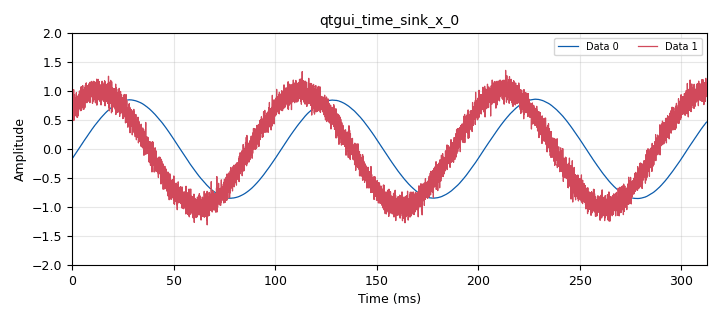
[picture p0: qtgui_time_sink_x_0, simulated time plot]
<?xml version='1.0' encoding='utf-8'?>
<?grc format='1' created='3.7.7'?>
<flow_graph>
<block>
<key>options</key>
<param><key>id</key><value>blocks_moving_average</value></param>
<param><key>generate_options</key><value>qt_gui</value></param>
<param><key>category</key><value>Custom</value></param>
<param><key>run_options</key><value>run</value></param>
</block>
<block>
<key>variable</key>
<param><key>id</key><value>samp_rate</value></param>
<param><key>value</key><value>32000</value></param>
</block>
<block>
<key>analog_sig_source_x</key>
<param><key>id</key><value>analog_sig_source_x_0</value></param>
<param><key>type</key><value>float</value></param>
<param><key>samp_rate</key><value>samp_rate</value></param>
<param><key>waveform</key><value>analog.GR_COS_WAVE</value></param>
<param><key>freq</key><value>10</value></param>
<param><key>amp</key><value>1</value></param>
<param><key>offset</key><value>0</value></param>
</block>
<block>
<key>blocks_throttle</key>
<param><key>id</key><value>blocks_throttle_0</value></param>
<param><key>type</key><value>float</value></param>
<param><key>samples_per_second</key><value>samp_rate</value></param>
</block>
<block>
<key>blocks_add_xx</key>
<param><key>id</key><value>blocks_add_xx_0</value></param>
<param><key>type</key><value>float</value></param>
</block>
<block>
<key>qtgui_time_sink_x</key>
<param><key>id</key><value>qtgui_time_sink_x_0</value></param>
<param><key>type</key><value>float</value></param>
<param><key>name</key><value></value></param>
<param><key>size</key><value>10000</value></param>
<param><key>srate</key><value>samp_rate</value></param>
<param><key>ymin</key><value>-2</value></param>
<param><key>ymax</key><value>2</value></param>
<param><key>nconnections</key><value>2</value></param>
<param><key>label1</key><value></value></param>
<param><key>color1</key><value>"blue"</value></param>
<param><key>label2</key><value></value></param>
<param><key>color2</key><value>"red"</value></param>
</block>
<block>
<key>analog_noise_source_x</key>
<param><key>id</key><value>analog_noise_source_x_0</value></param>
<param><key>type</key><value>float</value></param>
<param><key>noise_type</key><value>analog.GR_GAUSSIAN</value></param>
<param><key>amp</key><value>0.1</value></param>
<param><key>seed</key><value>0</value></param>
</block>
<block>
<key>variable_qtgui_range</key>
<param><key>id</key><value>length</value></param>
<param><key>label</key><value>Length</value></param>
<param><key>value</key><value>1000</value></param>
<param><key>start</key><value>0</value></param>
<param><key>stop</key><value>10000</value></param>
<param><key>step</key><value>100</value></param>
<param><key>orient</key><value>Qt.Horizontal</value></param>
</block>
<block>
<key>variable_qtgui_range</key>
<param><key>id</key><value>scale</value></param>
<param><key>label</key><value>Scale</value></param>
<param><key>value</key><value>0.001</value></param>
<param><key>start</key><value>0.0001</value></param>
<param><key>stop</key><value>0.1</value></param>
<param><key>step</key><value>0.0001</value></param>
<param><key>orient</key><value>Qt.Horizontal</value></param>
</block>
<block>
<key>blocks_moving_average_xx</key>
<param><key>id</key><value>blocks_moving_average_xx_0</value></param>
<param><key>type</key><value>float</value></param>
<param><key>length</key><value>int(length)</value></param>
<param><key>scale</key><value>scale</value></param>
<param><key>max_iter</key><value>4000</value></param>
</block>
<connection><source_block_id>analog_sig_source_x_0</source_block_id><sink_block_id>blocks_throttle_0</sink_block_id><source_key>0</source_key><sink_key>0</sink_key></connection>
<connection><source_block_id>blocks_moving_average_xx_0</source_block_id><sink_block_id>qtgui_time_sink_x_0</sink_block_id><source_key>0</source_key><sink_key>0</sink_key></connection>
<connection><source_block_id>blocks_throttle_0</source_block_id><sink_block_id>blocks_add_xx_0</sink_block_id><source_key>0</source_key><sink_key>0</sink_key></connection>
<connection><source_block_id>analog_noise_source_x_0</source_block_id><sink_block_id>blocks_add_xx_0</sink_block_id><source_key>0</source_key><sink_key>1</sink_key></connection>
<connection><source_block_id>blocks_add_xx_0</source_block_id><sink_block_id>qtgui_time_sink_x_0</sink_block_id><source_key>0</source_key><sink_key>1</sink_key></connection>
<connection><source_block_id>blocks_add_xx_0</source_block_id><sink_block_id>blocks_moving_average_xx_0</sink_block_id><source_key>0</source_key><sink_key>0</sink_key></connection>
</flow_graph>
